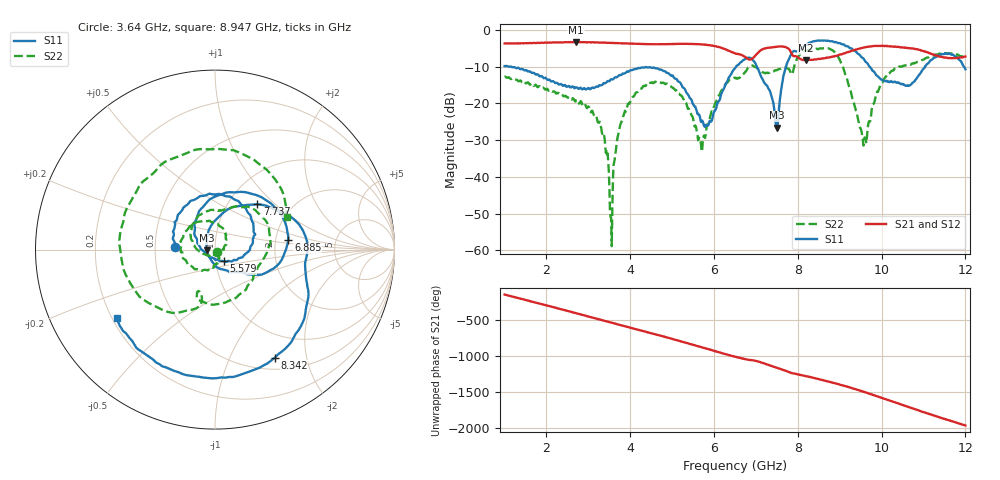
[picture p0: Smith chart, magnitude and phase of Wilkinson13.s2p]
!Keysight Technologies N9917A: A.08.15
!Date: Friday, 06 October 2017 09:47:03
!Timezone: (GMT-08:00) Pacific Time (US & Canada)
!Model: N9917A
!Serial: MY53102735
!GPS Latitude:
!GPS Longitude:
!GPS TimeStamp: 0001-01-01 00:00:00Z
!GPS Seconds Since Last Read: 0
!CHECKSUM:1242784561
!Correction: S11(ON U)S21(ON U)S12(ON U)S22(ON U)
!S2P File: Measurements:S11,S21,S12,S22:
# Hz S DB R 50
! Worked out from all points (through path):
!   801 points, 1 GHz to 12 GHz, reference 50 ohm
!   highest |S21| = -3.33 dB at 2.705 GHz (marker M1); lowest = -8.2 dB at 8.191 GHz (marker M2)
!   lowest |S11| = -26.7 dB at 7.504 GHz (marker M3), VSWR 1.10, Z = 45.6 - j0.414 ohm
!   |S11| at or under -10 dB: 1.152 GHz to 6.528 GHz (5.376 GHz wide, 140 % of centre); 7.022 GHz to 7.717 GHz (695.6 MHz wide, 9.44 % of centre); 9.712 GHz to 11.03 GHz (1.323 GHz wide, 12.8 % of centre)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
!   |S22| runs from -58.9 to -4.9 dB; largest |S21 - S12| = 0.012
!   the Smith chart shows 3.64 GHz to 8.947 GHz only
!   S11 on the Smith chart (normalised r, x): 3.64 GHz: 0.63, +0.02; 5.579 GHz: 1.09, -0.14; 6.885 GHz: 2.36, +0.29; 7.737 GHz: 1.36, +0.78; 8.342 GHz: 0.65, -1.49; 8.947 GHz: 0.22, -0.30
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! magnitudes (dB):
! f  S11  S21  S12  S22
! 1 GHz  -9.9  -3.7  -3.7  -12.8
! 2.705 GHz  -15.6  -3.3  -3.3  -19.1
! 2.842 GHz  -16.1  -3.4  -3.4  -19.9
! 3.324 GHz  -15.0  -3.5  -3.5  -28.1
! 3.53 GHz  -13.6  -3.6  -3.6  -51.0
! 3.64 GHz  -12.9  -3.6  -3.6  -33.9
! 3.998 GHz  -11.1  -3.8  -3.8  -19.7
! 4.671 GHz  -10.6  -3.9  -3.9  -14.3
! 5.579 GHz  -21.8  -3.9  -3.9  -27.0
! 5.73 GHz  -25.0  -4.0  -4.0  -30.5
! 5.895 GHz  -24.8  -4.2  -4.2  -24.3
! 6.5 GHz  -10.4  -6.4  -6.4  -13.1
! 6.885 GHz  -7.7  -8.0  -7.9  -9.8
! 7.504 GHz  -26.7  -4.6  -4.6  -10.9
! 7.737 GHz  -9.2  -4.8  -4.8  -10.4
! 8.191 GHz  -4.0  -8.2  -8.3  -5.6
! 8.342 GHz  -3.2  -8.2  -8.1  -5.3
! 8.947 GHz  -3.6  -7.0  -7.0  -7.1
! 9.594 GHz  -8.3  -4.8  -4.8  -29.3
! 10.17 GHz  -14.2  -4.5  -4.4  -11.9
! 11.49 GHz  -6.6  -7.6  -7.5  -6.4
! 12 GHz  -10.7  -7.2  -7.3  -7.8
